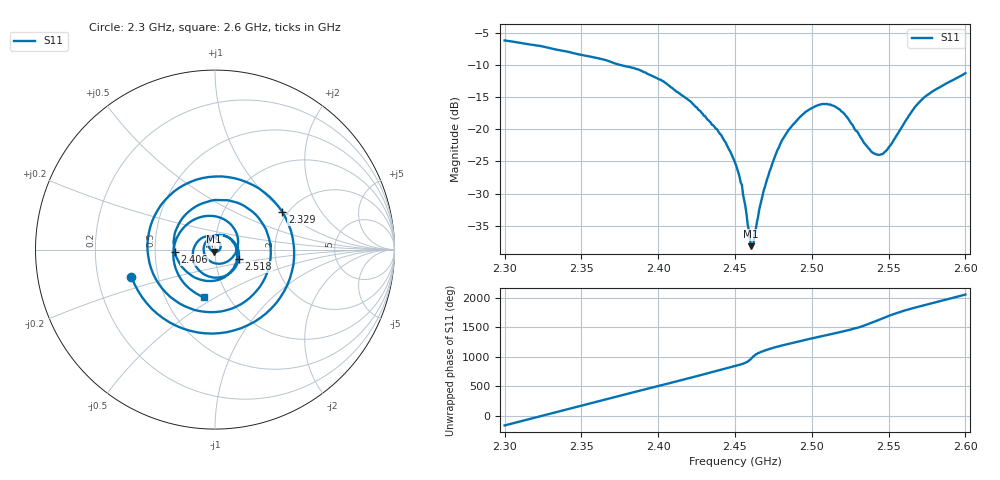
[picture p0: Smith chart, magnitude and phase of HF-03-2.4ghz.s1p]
! NanoVNA-App
! Date: 2026-05-22 18:38:00
! Start: 2.3GHz Stop: 2.6GHz Points: 401
! S-Parameter data: F S11
# Hz S RI R 50
!  Frequency  S11_Real  S11_Imag
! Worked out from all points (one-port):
!   401 points, 2.3 GHz to 2.6 GHz, reference 50 ohm
!   lowest |S11| = -38.2 dB at 2.461 GHz (marker M1), VSWR 1.03, Z = 49.6 - j1.15 ohm
!   |S11| at or under -10 dB: 2.375 GHz to end of sweep
!   S11 on the Smith chart (normalised r, x): 2.3 GHz: 0.35, -0.14; 2.329 GHz: 1.88, +0.96; 2.406 GHz: 0.63, -0.02; 2.518 GHz: 1.30, -0.14; 2.6 GHz: 0.77, -0.44
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2.3e9  -0.4655 -0.1509
2.30675e9  -0.2164 -0.4244
2.31275e9  0.1068 -0.4501
2.321e9  0.4175 -0.1603
2.3285e9  0.3758 0.2089
2.3375e9  0.00107 0.4072
2.345e9  -0.3002 0.2496
2.35175e9  -0.3718 -0.0374
2.363e9  -0.0544 -0.3469
2.375e9  0.2987 -0.104
2.38175e9  0.2723 0.1334
2.39e9  0.0494 0.2755
2.39825e9  -0.1788 0.1785
2.40575e9  -0.2238 -0.0136
2.4125e9  -0.1279 -0.1467
2.429e9  0.1237 -0.0444
2.45e9  -0.0324 0.0446
2.4605e9  -0.00437 -0.0116
2.474e9  0.0205 0.0487
2.4875e9  -0.0991 0.0422
2.5055e9  -0.0127 -0.155
2.51825e9  0.1329 -0.051
2.525e9  0.1065 0.0415
2.5445e9  -0.0609 -0.0177
2.5625e9  0.1231 0.00331
2.579e9  -0.079 0.1817
2.5895e9  -0.232 -0.0196
2.6e9  -0.0632 -0.2652
